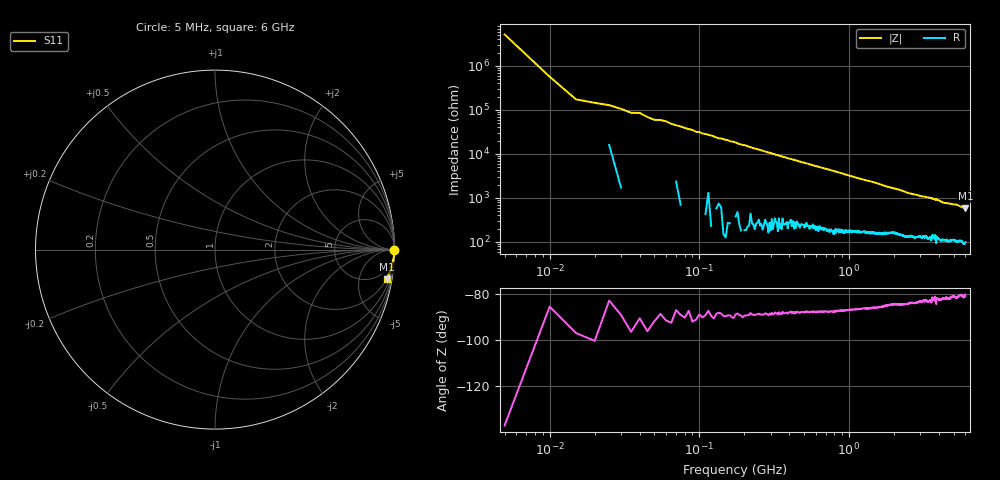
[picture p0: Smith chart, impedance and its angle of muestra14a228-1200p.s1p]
# Hz S RI R 50.000000
! Metas.Vna.Tools, 3.0.9519.15400
! Metas.Vna.Data, 3.0.9519.15360
! Created: UTC 2026.10.23 22:06:45
! FREQ  re:S1,1  im:S1,1
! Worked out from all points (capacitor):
!   1200 points, 5 MHz to 6 GHz, reference 50 ohm
!   read as one part to ground: C = 50.9 fF near 35 MHz
!   lowest |Z| = 577 ohm at 6 GHz (marker M1)
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5000000  1 -1.32e-05
7.55e8  0.9987 -0.0235
1.505e9  0.9957 -0.0451
1.82e9  0.9933 -0.0556
2.255e9  0.9912 -0.0673
2.525e9  0.9888 -0.0771
3.005e9  0.9854 -0.0888
3.43e9  0.9838 -0.096
3.545e9  0.9836 -0.0996
3.585e9  0.9819 -0.0978
3.61e9  0.9798 -0.1009
3.675e9  0.9812 -0.1028
3.72e9  0.9802 -0.1025
3.755e9  0.978 -0.1048
3.8e9  0.9807 -0.1044
3.865e9  0.9791 -0.1072
3.955e9  0.9789 -0.1096
4.11e9  0.9776 -0.1168
4.26e9  0.9746 -0.1235
4.41e9  0.9735 -0.1273
4.505e9  0.9729 -0.128
4.61e9  0.9736 -0.1285
4.81e9  0.9706 -0.1329
4.99e9  0.969 -0.1352
5.255e9  0.9695 -0.1376
5.63e9  0.962 -0.1513
5.835e9  0.9629 -0.1584
6e9  0.9571 -0.1646
